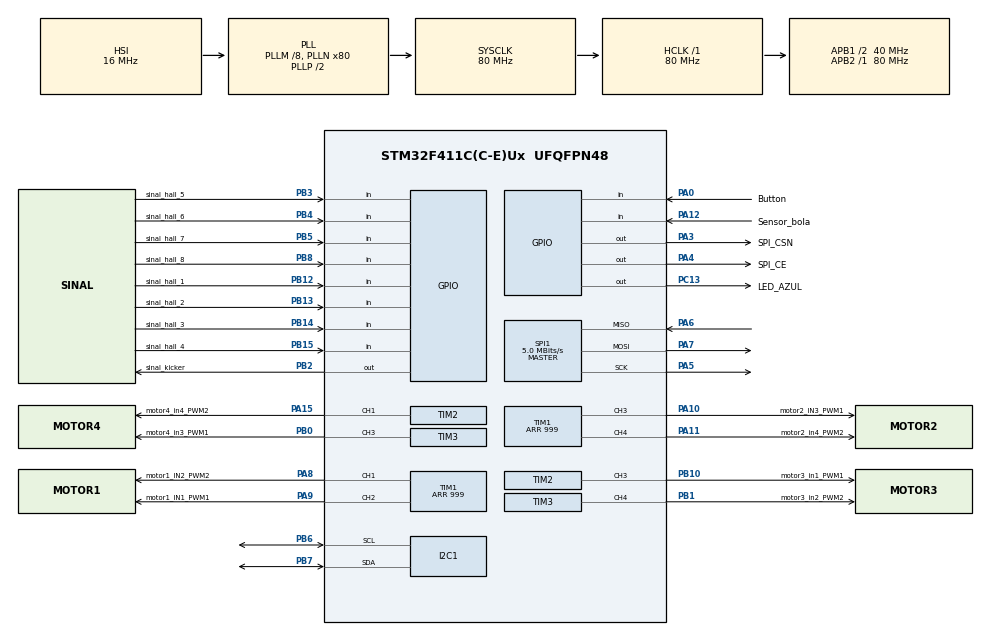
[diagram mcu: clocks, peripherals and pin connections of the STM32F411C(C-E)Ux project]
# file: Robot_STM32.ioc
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Mcu.Family=STM32F4
Mcu.Name=STM32F411C(C-E)Ux
Mcu.Package=UFQFPN48
NVIC.PriorityGroup=NVIC_PRIORITYGROUP_4
NVIC.TIM1_TRG_COM_TIM11_IRQn=true\:0\:0\:false\:false\:true\:true\:true\:true
PA0-WKUP.GPIO_Label=Button
PA0-WKUP.GPIO_PuPd=GPIO_PULLUP
PA0-WKUP.Signal=GPIO_Input
PA10.GPIO_Label=motor2_IN3_PWM1
PA10.Signal=S_TIM1_CH3
PA11.GPIO_Label=motor2_in4_PWM2
PA11.Signal=S_TIM1_CH4
PA12.GPIO_Label=Sensor_bola
PA12.Signal=GPIO_Input
PA13.Mode=Serial_Wire
PA13.Signal=SYS_JTMS-SWDIO
PA14.Mode=Serial_Wire
PA14.Signal=SYS_JTCK-SWCLK
PA15.GPIO_Label=motor4_in4_PWM2
PA15.Signal=S_TIM2_CH1_ETR
PA3.GPIO_Label=SPI_CSN
PA3.Signal=GPIO_Output
PA4.GPIO_Label=SPI_CE
PA4.Signal=GPIO_Output
PA5.Mode=Full_Duplex_Master
PA5.Signal=SPI1_SCK
PA6.Mode=Full_Duplex_Master
PA6.Signal=SPI1_MISO
PA7.Mode=Full_Duplex_Master
PA7.Signal=SPI1_MOSI
PA8.GPIO_Label=motor1_IN2_PWM2
PA8.GPIO_Speed=GPIO_SPEED_FREQ_HIGH
PA8.Signal=S_TIM1_CH1
PA9.GPIO_Label=motor1_IN1_PWM1
PA9.Signal=S_TIM1_CH2
PB0.GPIO_Label=motor4_in3_PWM1
PB0.Signal=S_TIM3_CH3
PB1.GPIO_Label=motor3_in2_PWM2
PB1.Signal=S_TIM3_CH4
PB10.GPIO_Label=motor3_in1_PWM1
PB10.Signal=S_TIM2_CH3
PB12.GPIO_Label=sinal_hall_1
PB12.Signal=GPIO_Input
PB13.GPIO_Label=sinal_hall_2
PB13.Signal=GPIO_Input
PB14.GPIO_Label=sinal_hall_3
PB14.Signal=GPIO_Input
PB15.GPIO_Label=sinal_hall_4
PB15.Signal=GPIO_Input
PB2.GPIO_Label=sinal_kicker
PB2.GPIO_Speed=GPIO_SPEED_FREQ_HIGH
PB2.Signal=GPIO_Output
PB3.GPIO_Label=sinal_hall_5
PB3.Signal=GPIO_Input
PB4.GPIO_Label=sinal_hall_6
PB4.Signal=GPIO_Input
PB5.GPIO_Label=sinal_hall_7
PB5.Signal=GPIO_Input
PB6.Mode=I2C
PB6.Signal=I2C1_SCL
PB7.Mode=I2C
PB7.Signal=I2C1_SDA
PB8.GPIO_Label=sinal_hall_8
PB8.Signal=GPIO_Input
PC13-ANTI_TAMP.GPIO_Label=LED_AZUL
PC13-ANTI_TAMP.Signal=GPIO_Output
PH0\ -\ OSC_IN.Mode=HSE-External-Oscillator
PH0\ -\ OSC_IN.Signal=RCC_OSC_IN
PH1\ -\ OSC_OUT.Mode=HSE-External-Oscillator
PH1\ -\ OSC_OUT.Signal=RCC_OSC_OUT
ProjectManager.HeapSize=0x200
ProjectManager.StackSize=0x400
ProjectManager.TargetToolchain=STM32CubeIDE
RCC.48MHZClocksFreq_Value=40000000
RCC.AHBFreq_Value=80000000
RCC.APB1CLKDivider=RCC_HCLK_DIV2
RCC.APB1Freq_Value=40000000
RCC.APB1TimFreq_Value=80000000
RCC.APB2Freq_Value=80000000
RCC.APB2TimFreq_Value=80000000
RCC.CortexFreq_Value=80000000
RCC.HCLKFreq_Value=80000000
RCC.HSE_VALUE=25000000
RCC.HSI_VALUE=16000000
RCC.LSE_VALUE=32768
RCC.PLLM=8
RCC.PLLN=80
RCC.SYSCLKFreq_VALUE=80000000
RCC.SYSCLKSource=RCC_SYSCLKSOURCE_PLLCLK
RCC.VCOOutputFreq_Value=160000000
SH.S_TIM1_CH1.0=TIM1_CH1,PWM Generation1 CH1
SH.S_TIM1_CH2.0=TIM1_CH2,PWM Generation2 CH2
SH.S_TIM1_CH3.0=TIM1_CH3,PWM Generation3 CH3
SH.S_TIM1_CH4.0=TIM1_CH4,PWM Generation4 CH4
SH.S_TIM2_CH1_ETR.0=TIM2_CH1,PWM Generation1 CH1
SH.S_TIM2_CH3.0=TIM2_CH3,PWM Generation3 CH3
SH.S_TIM3_CH3.0=TIM3_CH3,PWM Generation3 CH3
SH.S_TIM3_CH4.0=TIM3_CH4,PWM Generation4 CH4
SPI1.BaudRatePrescaler=SPI_BAUDRATEPRESCALER_16
SPI1.CalculateBaudRate=5.0 MBits/s
SPI1.Direction=SPI_DIRECTION_2LINES
SPI1.Mode=SPI_MODE_MASTER
SPI1.VirtualType=VM_MASTER
TIM1.Channel-PWM\ Generation1\ CH1=TIM_CHANNEL_1
TIM1.Channel-PWM\ Generation2\ CH2=TIM_CHANNEL_2
TIM1.Channel-PWM\ Generation3\ CH3=TIM_CHANNEL_3
TIM1.Channel-PWM\ Generation4\ CH4=TIM_CHANNEL_4
TIM1.Period=999
TIM11.Period=1999
TIM11.Prescaler=8399
TIM2.Channel-PWM\ Generation1\ CH1=TIM_CHANNEL_1
TIM2.Channel-PWM\ Generation3\ CH3=TIM_CHANNEL_3
TIM2.Period=999
TIM3.Channel-PWM\ Generation3\ CH3=TIM_CHANNEL_3
TIM3.Channel-PWM\ Generation4\ CH4=TIM_CHANNEL_4
TIM3.Period=999
VP_TIM11_VS_ClockSourceINT.Mode=Enable_Timer
board=custom

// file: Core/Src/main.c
/* USER CODE BEGIN Header */
/**
  ******************************************************************************
  * @file           : main.c
  * @brief          : Main program body
  ******************************************************************************
  * @attention
  *
  * Copyright (c) 2025 STMicroelectronics.
  * All rights reserved.
  *
  * This software is licensed under terms that can be found in the LICENSE file
  * in the root directory of this software component.
  * If no LICENSE file comes with this software, it is provided AS-IS.
  *
  ******************************************************************************
  */
/* USER CODE END Header */
#include "main.h"

/* USER CODE BEGIN Includes */
#include <math.h>
#include <stdio.h>
#include <string.h>
#include <inttypes.h>
#include "NRF24.h"
#include "NRF24_reg_addresses.h"
/* USER CODE END Includes */

/* USER CODE BEGIN PTD */
#define FLASH_USER_SECTOR      FLASH_SECTOR_7
#define FLASH_USER_START_ADDR  0x08060000UL  // setor reservado

#pragma pack(push, 1)
typedef struct {
    uint8_t id;
    float Vx, Vy, Vang;
    uint8_t kicker;
    uint8_t config;
    uint8_t param;
} Pacote;
#pragma pack(pop)

typedef struct {
    uint8_t id;          // ID do robô
} Info;

Info info;

volatile uint8_t id = -1;
volatile float vx = 0;
volatile float vy = 0;
volatile float vang = 0;
volatile uint8_t kicker = 0;
volatile uint8_t config = 0;
volatile uint8_t param = 0;

uint8_t addr[5] = {'C', 'E', 'R', 'B', 'R'};
uint8_t channel = 83;
uint8_t pld_size = sizeof(Pacote);
volatile uint8_t radio_timeout = 0;

const uint32_t ARR = 1000;
const float R = 0.0915;
const float Rr = 0.02;
const float velocidade_maxima_motor = 29.32153; // rads/segundo de 280rmp
const float velocidade_minima_motor = 0.6*velocidade_maxima_motor;
const float epsilon = 2;
const float a1 = 0.785398;   // 45°
const float a2 = 2.35619;  // 135°
const float a3 = 3.92699; // 225°
const float a4 = 5.49779;  // 315°

//Variaveis do Softstart
float duty_cycle[4];
float duty_cycle_atual[4] = {0, 0, 0, 0}; // PWM atual de cada motor
uint32_t ultimaAtualizacao = 0;
const uint32_t intervalo_ms = 20;  // Atualização a cada 20ms (~50Hz)
const float passo_pwm = 3.0f;      // Incremento por atualização

/* USER CODE END PTD */

/* USER CODE BEGIN PD */
#define PWM_MOTOR1_CHANNEL TIM_CHANNEL_1
#define PWM_MOTOR1_TIMER &htim1

#define PWM_MOTOR2_CHANNEL TIM_CHANNEL_2
#define PWM_MOTOR2_TIMER &htim3

#define PWM_MOTOR3_CHANNEL TIM_CHANNEL_1
#define PWM_MOTOR3_TIMER &htim3

#define PWM_MOTOR4_CHANNEL TIM_CHANNEL_1
#define PWM_MOTOR4_TIMER &htim2

/* USER CODE END PD */

I2C_HandleTypeDef hi2c1;

SPI_HandleTypeDef hspi1;

TIM_HandleTypeDef htim1;
TIM_HandleTypeDef htim2;
TIM_HandleTypeDef htim3;
TIM_HandleTypeDef htim11;

void SystemClock_Config(void);
static void MX_GPIO_Init(void);
static void MX_SPI1_Init(void);
static void MX_TIM1_Init(void);
static void MX_TIM2_Init(void);
static void MX_TIM11_Init(void);
static void MX_TIM3_Init(void);
static void MX_I2C1_Init(void);

/* USER CODE BEGIN 0 */
void radio_setup() {
	  ce_high();
	  HAL_Delay(5);
	  ce_low();

	  nrf24_init();

	  nrf24_auto_ack_all(auto_ack);
	  nrf24_en_ack_pld(disable);
	  nrf24_dpl(disable);

	  nrf24_tx_pwr(_0dbm);
	  nrf24_data_rate(_2mbps);
	  nrf24_set_channel(channel);
	  nrf24_set_addr_width(5);

	  nrf24_pipe_pld_size(0, pld_size);
	  nrf24_set_crc(en_crc, _1byte);

	  nrf24_auto_retr_delay(0);
	  nrf24_auto_retr_limit(5);

	  nrf24_open_tx_pipe(addr);
	  nrf24_open_rx_pipe(0, addr);

	  nrf24_listen();

	  ce_high();
	  HAL_Delay(5);
}

void HAL_TIM_PeriodElapsedCallback(TIM_HandleTypeDef *htim)
{
    if (htim->Instance == TIM11)
    {
        if (radio_timeout == 0)
        {
            vx = 0;
            vy = 0;
            vang = 0;
            kicker = 0;
            config = 0;
            param = 0;
        }
        else
        {
            radio_timeout = 0; // Sinal de que rádio está funcionando
        }
    }
}

void acionar_motor(int motor, float dutycycle) {
    TIM_HandleTypeDef *htimA = NULL;
    uint32_t channelA = 0;
    TIM_HandleTypeDef *htimB = NULL;
    uint32_t channelB = 0;

    switch (motor) {
        case 1:
            htimA = &htim1;
            channelA = TIM_CHANNEL_2;
            htimB = &htim1;
            channelB = TIM_CHANNEL_1;
            break;
        case 2:
            htimA = &htim1;
            channelA = TIM_CHANNEL_3;
            htimB = &htim1;
            channelB = TIM_CHANNEL_4;
            break;
        case 3:
            htimA = &htim2;
            channelA = TIM_CHANNEL_3;
            htimB = &htim3;
            channelB = TIM_CHANNEL_4;
            break;
        case 4:
            htimA = &htim2;
            channelA = TIM_CHANNEL_1;
            htimB = &htim3;
            channelB = TIM_CHANNEL_3;
            break;
        default:
            return;
    }

    // Limita dutycycle
    if (dutycycle > 100.0f) dutycycle = 100.0f;
    if (dutycycle < -100.0f) dutycycle = -100.0f;

    uint32_t pwm_value = (uint32_t)((fabsf(dutycycle) / 100.0f) * ARR);

    if (dutycycle > 0) {
        __HAL_TIM_SET_COMPARE(htimA, channelA, pwm_value);
        __HAL_TIM_SET_COMPARE(htimB, channelB, 0);
    } else if (dutycycle < 0) {
        __HAL_TIM_SET_COMPARE(htimA, channelA, 0);
        __HAL_TIM_SET_COMPARE(htimB, channelB, pwm_value);
    } else {
        __HAL_TIM_SET_COMPARE(htimA, channelA, 0);
        __HAL_TIM_SET_COMPARE(htimB, channelB, 0);
    }
}

void soft_start_motor(int motor, float pwm_alvo, float passo) {
    if (pwm_alvo > 100.0f) pwm_alvo = 100.0f;
    if (pwm_alvo < -100.0f) pwm_alvo = -100.0f;

    float* pwm_atual = &duty_cycle_atual[motor - 1];

    if (fabs(*pwm_atual - pwm_alvo) < passo) {
        *pwm_atual = pwm_alvo;
    } else if (*pwm_atual < pwm_alvo) {
        *pwm_atual += passo;
    } else {
        *pwm_atual -= passo;
    }

    acionar_motor(motor, *pwm_atual);
}

void gravaFlash(Info *info){
    HAL_StatusTypeDef status;
    HAL_FLASH_Unlock();

    // Apaga o setor inteiro
    FLASH_EraseInitTypeDef EraseInitStruct;
    uint32_t SectorError = 0;

    EraseInitStruct.TypeErase    = FLASH_TYPEERASE_SECTORS;
    EraseInitStruct.Sector       = FLASH_USER_SECTOR;
    EraseInitStruct.NbSectors    = 1;
    EraseInitStruct.VoltageRange = FLASH_VOLTAGE_RANGE_3;

    status = HAL_FLASHEx_Erase(&EraseInitStruct, &SectorError);
    if (status != HAL_OK) {
        // opcional: tratar/indicar erro (debug)
        HAL_FLASH_Lock();
        return;
    }

    // Prepara buffer de palavras 32-bit com padding
    size_t bytes = sizeof(Info);
    size_t words = (bytes + 3) / 4; // arredonda para cima
    uint32_t buf[ ( (sizeof(Info) + 3) / 4 ) ];
    // inicializa com 0xFFFFFFFF (valor de flash apagada)
    for (size_t i = 0; i < words; ++i) buf[i] = 0xFFFFFFFFu;

    // copia bytes da struct para o buffer
    memcpy((uint8_t*)buf, (uint8_t*)info, bytes);

    // grava palavra a palavra
    for (size_t i = 0; i < words; ++i) {
        status = HAL_FLASH_Program(FLASH_TYPEPROGRAM_WORD,
                                   FLASH_USER_START_ADDR + i * 4,
                                   buf[i]);
        if (status != HAL_OK) {
            // tratar erro: opcionalmente ler __HAL_FLASH_GET_FLAG(...) para debug
            break;
        }
    }

    HAL_FLASH_Lock();
}
void leFlash(Info *info)
{
    // Copia bytes diretamente da flash (não é necessário fazer cast para pointer de palavra)
    const void *flashPtr = (const void*)FLASH_USER_START_ADDR;
    memcpy(info, flashPtr, sizeof(Info));
}

void act_config(){
	if(config == 1) {
		id = param;
		info.id = param;
		gravaFlash(&info);
	}
	if(config == 5){
		if(param == 0){
			  HAL_Delay(4000);
			  for(int i = 0; i<4; i++){
				  acionar_motor(i+1, 1000);
				  HAL_Delay(1000);
				  acionar_motor(i+1, 0);
				  HAL_Delay(1000);
				  acionar_motor(i+1, -1000);
				  HAL_Delay(1000);
				  acionar_motor(i+1, 0);
			  }
		  }
		  if(param == 1){
			  HAL_Delay(4000);
			  for(int i = 0; i<4; i++){
				  acionar_motor(1, 100);
				  HAL_Delay(1000);
				  acionar_motor(1, 0);
				  acionar_motor(2, 100);
				  HAL_Delay(1000);
				  acionar_motor(2, 0);
				  acionar_motor(3, 100);
				  HAL_Delay(1000);
				  acionar_motor(3, 0);
				  acionar_motor(4, 100);
				  HAL_Delay(1000);
				  acionar_motor(4, 0);
			  }
		  }
		  if(param == 2){
			  for(int i = 0; i<11; i++){
				  acionar_motor(1, i*10);
				  acionar_motor(2, i*10);
				  acionar_motor(3, i*10);
				  acionar_motor(4, i*10);
				  HAL_Delay(2000);
			  }
			  for(int i = 0; i<11; i++){
				  acionar_motor(1, -i*10);
				  acionar_motor(2, -i*10);
				  acionar_motor(3, -i*10);
				  acionar_motor(4, -i*10);
				  HAL_Delay(2000);
			  }
		  }
		  if(param == 3){
		  			  for(int i = 0; i<1; i++){
		  				  acionar_motor(1, 50);
		  				  acionar_motor(2, -50);
		  				  acionar_motor(3, -50);
		  				  acionar_motor(4, 50);
		  				  HAL_Delay(2000);
		  			  }
		  			  for(int i = 0; i<1; i++){
		  				  acionar_motor(1, -50);
		  				  acionar_motor(2, 50);
		  				  acionar_motor(3, 50);
		  				  acionar_motor(4, -50);
		  				  HAL_Delay(2000);
		  			  }
		  			  for(int i = 0; i<1; i++){
		  				  acionar_motor(1, -50);
		  				  acionar_motor(2, -50);
		  				  acionar_motor(3, 50);
		  				  acionar_motor(4, 50);
		  				  HAL_Delay(2000);
		  			  }
		  			  for(int i = 0; i<1; i++){
		  				  acionar_motor(1, 50);
		  				  acionar_motor(2, 50);
		  				  acionar_motor(3, -50);
		  				  acionar_motor(4, -50);
		  				  HAL_Delay(2000);
		  			  }
		  			acionar_motor(1, 0);
		  			acionar_motor(2, 0);
		  			acionar_motor(3, 0);
		  			acionar_motor(4, 0);
		  			HAL_Delay(4000);

		  		  }
	}
	config = 0;
	param = 0;
}

/* USER CODE END 0 */

int main(void)
{

  /* MCU Configuration--------------------------------------------------------*/

  /* Reset of all peripherals, Initializes the Flash interface and the Systick. */
  HAL_Init();

  /* Configure the system clock */
  SystemClock_Config();

  /* Initialize all configured peripherals */
  MX_GPIO_Init();
  MX_SPI1_Init();
  MX_TIM1_Init();
  MX_TIM2_Init();
  MX_TIM11_Init();
  MX_TIM3_Init();
  MX_I2C1_Init();
  /* USER CODE BEGIN 2 */
  HAL_TIM_PWM_Start(&htim1, TIM_CHANNEL_1);
  HAL_TIM_PWM_Start(&htim1, TIM_CHANNEL_2);
  HAL_TIM_PWM_Start(&htim1, TIM_CHANNEL_3);
  HAL_TIM_PWM_Start(&htim1, TIM_CHANNEL_4);

  HAL_TIM_PWM_Start(&htim2, TIM_CHANNEL_1);
  HAL_TIM_PWM_Start(&htim2, TIM_CHANNEL_3);

  HAL_TIM_PWM_Start(&htim3, TIM_CHANNEL_3);
  HAL_TIM_PWM_Start(&htim3, TIM_CHANNEL_4);
  //radio configuration
  radio_setup();
  HAL_TIM_Base_Start_IT(&htim11);

  //Radio variables
  uint8_t rx_buffer[pld_size];
  Pacote pacote_recebido;

  //cinematics variables

  float J[4][3] = {
  	  	    {-sin(a1), cos(a1), R},
  	  	    {-sin(a2), cos(a2), R},
  	  	    {-sin(a3), cos(a3), R},
  	  	    {-sin(a4), cos(a4), R}
  	  	  };
  HAL_GPIO_WritePin(LED_AZUL_GPIO_Port, LED_AZUL_Pin, GPIO_PIN_SET);
  leFlash(&info);
  if(info.id == 0xFF || info.id > 15 || info.id == 0xFF) {
	  Info new_info;
	  new_info.id = -1;
	  gravaFlash(&new_info);
	  leFlash(&info);
  }
  id = info.id;
  //HAL_UART_Transmit(&huart2, (uint8_t*)"Iniciado!", strlen("Iniciado!"), 100);
  /* USER CODE END 2 */

  /* Infinite loop */
  /* USER CODE BEGIN WHILE */
  while (1)
  {
	  if (HAL_GPIO_ReadPin(GPIOA, GPIO_PIN_0) == GPIO_PIN_RESET) {
		  HAL_GPIO_WritePin(LED_AZUL_GPIO_Port, LED_AZUL_Pin, GPIO_PIN_SET);
		  HAL_Delay(2000);
		  if(id != 0xFF){
			  for (int i = 0; i < id ; i++) {
				  HAL_GPIO_WritePin(LED_AZUL_GPIO_Port, LED_AZUL_Pin, GPIO_PIN_SET);
				  HAL_Delay(1000);
				  HAL_GPIO_WritePin(LED_AZUL_GPIO_Port, LED_AZUL_Pin, GPIO_PIN_RESET);
				  HAL_Delay(1000);
			  }
		  }
		  if (id == -1 || id == 0xFF) {
			  for (int i = 0; i<3; i++) {
				  HAL_GPIO_WritePin(LED_AZUL_GPIO_Port, LED_AZUL_Pin, GPIO_PIN_SET);
				  HAL_Delay(500);
				  HAL_GPIO_WritePin(LED_AZUL_GPIO_Port, LED_AZUL_Pin, GPIO_PIN_RESET);
				  HAL_Delay(500);
			  }
		  }
		  HAL_GPIO_WritePin(LED_AZUL_GPIO_Port, LED_AZUL_Pin, GPIO_PIN_SET);
		  HAL_Delay(2000);
	  }

  // Inicializa pacote com valores padrão
  pacote_recebido.Vx = 0;
  pacote_recebido.Vy = 0;
  pacote_recebido.Vang = 0;
  pacote_recebido.id = -10;
  pacote_recebido.kicker = 0;
  pacote_recebido.config = 0;
  pacote_recebido.param = 0;

  // ---- Comunicação via rádio ----
	if(nrf24_data_available()) {
		nrf24_receive(rx_buffer, pld_size);
		memcpy(&pacote_recebido, rx_buffer, sizeof(Pacote));

		if(pacote_recebido.id == id){
		  // Atualiza variáveis globais
			vx = pacote_recebido.Vx;
			vy = pacote_recebido.Vy;
			vang = pacote_recebido.Vang;
			kicker = pacote_recebido.kicker;
			config = pacote_recebido.config;
			param = pacote_recebido.param;

			radio_timeout = 1;
			HAL_GPIO_WritePin(LED_AZUL_GPIO_Port, LED_AZUL_Pin, GPIO_PIN_RESET);
		} else {
			HAL_GPIO_WritePin(LED_AZUL_GPIO_Port, LED_AZUL_Pin, GPIO_PIN_SET);
			radio_timeout = 0;
		}
	} else {
		radio_timeout = 0;
		HAL_GPIO_WritePin(LED_AZUL_GPIO_Port, LED_AZUL_Pin, GPIO_PIN_SET);
	}
  if (config != 0) {
	  act_config();
	  continue;
  }

  // ---- Cinemática do robô ----
  if (vx > 0.71) vx = 0.71;
  if (vy > 0.71) vy = 0.71;
  if (vx < -0.71) vx = -0.71;
  if (vy < -0.71) vy = -0.71;

  float velocidade_angular[4];
  for (int i = 0; i < 4; i++) {
	  velocidade_angular[i] = (1.0f / Rr) * (J[i][0] * vx + J[i][1] * vy + J[i][2] * vang);
  }

  // Normalizar
  float max_val = 0.0f;
  for (int i = 0; i < 4; i++) {
	  float abs_val = fabs(velocidade_angular[i]);
	  if (abs_val > max_val) max_val = abs_val;
  }
  if (max_val > velocidade_maxima_motor) {
	  float escala = velocidade_maxima_motor / max_val;
	  for (int i = 0; i < 4; i++) {
		  velocidade_angular[i] *= escala;
	  }
  }

  // Garantir mínimo
  float min_val = 1e9f;
  for (int i = 0; i < 4; i++) {
	  float abs_val = fabs(velocidade_angular[i]);
	  if (abs_val > epsilon && abs_val < min_val) {
		  min_val = abs_val;
	  }
  }
  if (min_val < velocidade_minima_motor && min_val > epsilon) {
	  float escala = velocidade_minima_motor / min_val;
	  for (int i = 0; i < 4; i++) {
		  if (fabs(velocidade_angular[i]) > epsilon) {
			  velocidade_angular[i] *= escala;
			  if (velocidade_angular[i] > velocidade_maxima_motor) velocidade_angular[i] = velocidade_maxima_motor;
			  if (velocidade_angular[i] < -velocidade_maxima_motor) velocidade_angular[i] = -velocidade_maxima_motor;
		  }
	  }
  }

  // Aplicar nos motores

  acionar_motor(1, 100.0f*velocidade_angular[0]/velocidade_maxima_motor);
  acionar_motor(2, 100.0f*velocidade_angular[1]/velocidade_maxima_motor);
  acionar_motor(3, 100.0f*velocidade_angular[2]/velocidade_maxima_motor);
  acionar_motor(4, 100.0f*velocidade_angular[3]/velocidade_maxima_motor);

/*
      // 4. Conversão para duty cycle [%]
      for (int i = 0; i < 4; i++) {
          duty_cycle[i] = (velocidade_angular[i] / velocidade_maxima_motor) * 100.0f;

          // Limita para [-100, 100]
          if (duty_cycle[i] > 100.0f) duty_cycle[i] = 100.0f;
          if (duty_cycle[i] < -100.0f) duty_cycle[i] = -100.0f;
      }

      // 5. Softstart para aplicar os valores suavemente

	  if (HAL_GetTick() - ultimaAtualizacao >= intervalo_ms) {
	 	      ultimaAtualizacao = HAL_GetTick();

	 	        for (int i = 0; i < 4; i++) {
	 	            soft_start_motor(i + 1, duty_cycle[i], passo_pwm);
	 	        }
	 	  }
*/

  }
    /* USER CODE END WHILE */

}

void SystemClock_Config(void)
{
  RCC_OscInitTypeDef RCC_OscInitStruct = {0};
  RCC_ClkInitTypeDef RCC_ClkInitStruct = {0};

  /** Configure the main internal regulator output voltage
  */
  __HAL_RCC_PWR_CLK_ENABLE();
  __HAL_PWR_VOLTAGESCALING_CONFIG(PWR_REGULATOR_VOLTAGE_SCALE1);

  /** Initializes the RCC Oscillators according to the specified parameters
  * in the RCC_OscInitTypeDef structure.
  */
  RCC_OscInitStruct.OscillatorType = RCC_OSCILLATORTYPE_HSI;
  RCC_OscInitStruct.HSIState = RCC_HSI_ON;
  RCC_OscInitStruct.HSICalibrationValue = RCC_HSICALIBRATION_DEFAULT;
  RCC_OscInitStruct.PLL.PLLState = RCC_PLL_ON;
  RCC_OscInitStruct.PLL.PLLSource = RCC_PLLSOURCE_HSI;
  RCC_OscInitStruct.PLL.PLLM = 8;
  RCC_OscInitStruct.PLL.PLLN = 80;
  RCC_OscInitStruct.PLL.PLLP = RCC_PLLP_DIV2;
  RCC_OscInitStruct.PLL.PLLQ = 4;
  if (HAL_RCC_OscConfig(&RCC_OscInitStruct) != HAL_OK)
  {
    Error_Handler();
  }

  /** Initializes the CPU, AHB and APB buses clocks
  */
  RCC_ClkInitStruct.ClockType = RCC_CLOCKTYPE_HCLK|RCC_CLOCKTYPE_SYSCLK
                              |RCC_CLOCKTYPE_PCLK1|RCC_CLOCKTYPE_PCLK2;
  RCC_ClkInitStruct.SYSCLKSource = RCC_SYSCLKSOURCE_PLLCLK;
  RCC_ClkInitStruct.AHBCLKDivider = RCC_SYSCLK_DIV1;
  RCC_ClkInitStruct.APB1CLKDivider = RCC_HCLK_DIV2;
  RCC_ClkInitStruct.APB2CLKDivider = RCC_HCLK_DIV1;

  if (HAL_RCC_ClockConfig(&RCC_ClkInitStruct, FLASH_LATENCY_2) != HAL_OK)
  {
    Error_Handler();
  }
}

static void MX_I2C1_Init(void)
{

  hi2c1.Instance = I2C1;
  hi2c1.Init.ClockSpeed = 100000;
  hi2c1.Init.DutyCycle = I2C_DUTYCYCLE_2;
  hi2c1.Init.OwnAddress1 = 0;
  hi2c1.Init.AddressingMode = I2C_ADDRESSINGMODE_7BIT;
  hi2c1.Init.DualAddressMode = I2C_DUALADDRESS_DISABLE;
  hi2c1.Init.OwnAddress2 = 0;
  hi2c1.Init.GeneralCallMode = I2C_GENERALCALL_DISABLE;
  hi2c1.Init.NoStretchMode = I2C_NOSTRETCH_DISABLE;
  if (HAL_I2C_Init(&hi2c1) != HAL_OK)
  {
    Error_Handler();
  }

}

static void MX_SPI1_Init(void)
{

  /* SPI1 parameter configuration*/
  hspi1.Instance = SPI1;
  hspi1.Init.Mode = SPI_MODE_MASTER;
  hspi1.Init.Direction = SPI_DIRECTION_2LINES;
  hspi1.Init.DataSize = SPI_DATASIZE_8BIT;
  hspi1.Init.CLKPolarity = SPI_POLARITY_LOW;
  hspi1.Init.CLKPhase = SPI_PHASE_1EDGE;
  hspi1.Init.NSS = SPI_NSS_SOFT;
  hspi1.Init.BaudRatePrescaler = SPI_BAUDRATEPRESCALER_16;
  hspi1.Init.FirstBit = SPI_FIRSTBIT_MSB;
  hspi1.Init.TIMode = SPI_TIMODE_DISABLE;
  hspi1.Init.CRCCalculation = SPI_CRCCALCULATION_DISABLE;
  hspi1.Init.CRCPolynomial = 10;
  if (HAL_SPI_Init(&hspi1) != HAL_OK)
  {
    Error_Handler();
  }

}

static void MX_TIM1_Init(void)
{

  TIM_MasterConfigTypeDef sMasterConfig = {0};
  TIM_OC_InitTypeDef sConfigOC = {0};
  TIM_BreakDeadTimeConfigTypeDef sBreakDeadTimeConfig = {0};

  htim1.Instance = TIM1;
  htim1.Init.Prescaler = 0;
  htim1.Init.CounterMode = TIM_COUNTERMODE_UP;
  htim1.Init.Period = 999;
  htim1.Init.ClockDivision = TIM_CLOCKDIVISION_DIV1;
  htim1.Init.RepetitionCounter = 0;
  htim1.Init.AutoReloadPreload = TIM_AUTORELOAD_PRELOAD_DISABLE;
  if (HAL_TIM_PWM_Init(&htim1) != HAL_OK)
  {
    Error_Handler();
  }
  sMasterConfig.MasterOutputTrigger = TIM_TRGO_RESET;
  sMasterConfig.MasterSlaveMode = TIM_MASTERSLAVEMODE_DISABLE;
  if (HAL_TIMEx_MasterConfigSynchronization(&htim1, &sMasterConfig) != HAL_OK)
  {
    Error_Handler();
  }
  sConfigOC.OCMode = TIM_OCMODE_PWM1;
  sConfigOC.Pulse = 0;
  sConfigOC.OCPolarity = TIM_OCPOLARITY_HIGH;
  sConfigOC.OCNPolarity = TIM_OCNPOLARITY_HIGH;
  sConfigOC.OCFastMode = TIM_OCFAST_DISABLE;
  sConfigOC.OCIdleState = TIM_OCIDLESTATE_RESET;
  sConfigOC.OCNIdleState = TIM_OCNIDLESTATE_RESET;
  if (HAL_TIM_PWM_ConfigChannel(&htim1, &sConfigOC, TIM_CHANNEL_1) != HAL_OK)
  {
    Error_Handler();
  }
  if (HAL_TIM_PWM_ConfigChannel(&htim1, &sConfigOC, TIM_CHANNEL_2) != HAL_OK)
  {
    Error_Handler();
  }
  if (HAL_TIM_PWM_ConfigChannel(&htim1, &sConfigOC, TIM_CHANNEL_3) != HAL_OK)
  {
    Error_Handler();
  }
  if (HAL_TIM_PWM_ConfigChannel(&htim1, &sConfigOC, TIM_CHANNEL_4) != HAL_OK)
  {
    Error_Handler();
  }
  sBreakDeadTimeConfig.OffStateRunMode = TIM_OSSR_DISABLE;
  sBreakDeadTimeConfig.OffStateIDLEMode = TIM_OSSI_DISABLE;
  sBreakDeadTimeConfig.LockLevel = TIM_LOCKLEVEL_OFF;
  sBreakDeadTimeConfig.DeadTime = 0;
  sBreakDeadTimeConfig.BreakState = TIM_BREAK_DISABLE;
  sBreakDeadTimeConfig.BreakPolarity = TIM_BREAKPOLARITY_HIGH;
  sBreakDeadTimeConfig.AutomaticOutput = TIM_AUTOMATICOUTPUT_DISABLE;
  if (HAL_TIMEx_ConfigBreakDeadTime(&htim1, &sBreakDeadTimeConfig) != HAL_OK)
  {
    Error_Handler();
  }
  HAL_TIM_MspPostInit(&htim1);

}

static void MX_TIM2_Init(void)
{

  TIM_MasterConfigTypeDef sMasterConfig = {0};
  TIM_OC_InitTypeDef sConfigOC = {0};

  htim2.Instance = TIM2;
  htim2.Init.Prescaler = 0;
  htim2.Init.CounterMode = TIM_COUNTERMODE_UP;
  htim2.Init.Period = 999;
  htim2.Init.ClockDivision = TIM_CLOCKDIVISION_DIV1;
  htim2.Init.AutoReloadPreload = TIM_AUTORELOAD_PRELOAD_DISABLE;
  if (HAL_TIM_PWM_Init(&htim2) != HAL_OK)
  {
    Error_Handler();
  }
  sMasterConfig.MasterOutputTrigger = TIM_TRGO_RESET;
  sMasterConfig.MasterSlaveMode = TIM_MASTERSLAVEMODE_DISABLE;
  if (HAL_TIMEx_MasterConfigSynchronization(&htim2, &sMasterConfig) != HAL_OK)
  {
    Error_Handler();
  }
  sConfigOC.OCMode = TIM_OCMODE_PWM1;
  sConfigOC.Pulse = 0;
  sConfigOC.OCPolarity = TIM_OCPOLARITY_HIGH;
  sConfigOC.OCFastMode = TIM_OCFAST_DISABLE;
  if (HAL_TIM_PWM_ConfigChannel(&htim2, &sConfigOC, TIM_CHANNEL_1) != HAL_OK)
  {
    Error_Handler();
  }
  if (HAL_TIM_PWM_ConfigChannel(&htim2, &sConfigOC, TIM_CHANNEL_3) != HAL_OK)
  {
    Error_Handler();
  }
  HAL_TIM_MspPostInit(&htim2);

}

static void MX_TIM3_Init(void)
{

  TIM_MasterConfigTypeDef sMasterConfig = {0};
  TIM_OC_InitTypeDef sConfigOC = {0};

  htim3.Instance = TIM3;
  htim3.Init.Prescaler = 0;
  htim3.Init.CounterMode = TIM_COUNTERMODE_UP;
  htim3.Init.Period = 999;
  htim3.Init.ClockDivision = TIM_CLOCKDIVISION_DIV1;
  htim3.Init.AutoReloadPreload = TIM_AUTORELOAD_PRELOAD_DISABLE;
  if (HAL_TIM_PWM_Init(&htim3) != HAL_OK)
  {
    Error_Handler();
  }
  sMasterConfig.MasterOutputTrigger = TIM_TRGO_RESET;
  sMasterConfig.MasterSlaveMode = TIM_MASTERSLAVEMODE_DISABLE;
  if (HAL_TIMEx_MasterConfigSynchronization(&htim3, &sMasterConfig) != HAL_OK)
  {
    Error_Handler();
  }
  sConfigOC.OCMode = TIM_OCMODE_PWM1;
  sConfigOC.Pulse = 0;
  sConfigOC.OCPolarity = TIM_OCPOLARITY_HIGH;
  sConfigOC.OCFastMode = TIM_OCFAST_DISABLE;
  if (HAL_TIM_PWM_ConfigChannel(&htim3, &sConfigOC, TIM_CHANNEL_3) != HAL_OK)
  {
    Error_Handler();
  }
  if (HAL_TIM_PWM_ConfigChannel(&htim3, &sConfigOC, TIM_CHANNEL_4) != HAL_OK)
  {
    Error_Handler();
  }
  HAL_TIM_MspPostInit(&htim3);

}

static void MX_TIM11_Init(void)
{

  htim11.Instance = TIM11;
  htim11.Init.Prescaler = 8399;
  htim11.Init.CounterMode = TIM_COUNTERMODE_UP;
  htim11.Init.Period = 1999;
  htim11.Init.ClockDivision = TIM_CLOCKDIVISION_DIV1;
  htim11.Init.AutoReloadPreload = TIM_AUTORELOAD_PRELOAD_DISABLE;
  if (HAL_TIM_Base_Init(&htim11) != HAL_OK)
  {
    Error_Handler();
  }

}

static void MX_GPIO_Init(void)
{
  GPIO_InitTypeDef GPIO_InitStruct = {0};

  /* GPIO Ports Clock Enable */
  __HAL_RCC_GPIOC_CLK_ENABLE();
  __HAL_RCC_GPIOH_CLK_ENABLE();
  __HAL_RCC_GPIOA_CLK_ENABLE();
  __HAL_RCC_GPIOB_CLK_ENABLE();

  /*Configure GPIO pin Output Level */
  HAL_GPIO_WritePin(LED_AZUL_GPIO_Port, LED_AZUL_Pin, GPIO_PIN_RESET);

  /*Configure GPIO pin Output Level */
  HAL_GPIO_WritePin(GPIOA, SPI_CSN_Pin|SPI_CE_Pin, GPIO_PIN_RESET);

  /*Configure GPIO pin Output Level */
  HAL_GPIO_WritePin(sinal_kicker_GPIO_Port, sinal_kicker_Pin, GPIO_PIN_RESET);

  /*Configure GPIO pin : LED_AZUL_Pin */
  GPIO_InitStruct.Pin = LED_AZUL_Pin;
  GPIO_InitStruct.Mode = GPIO_MODE_OUTPUT_PP;
  GPIO_InitStruct.Pull = GPIO_NOPULL;
  GPIO_InitStruct.Speed = GPIO_SPEED_FREQ_LOW;
  HAL_GPIO_Init(LED_AZUL_GPIO_Port, &GPIO_InitStruct);

  /*Configure GPIO pin : Button_Pin */
  GPIO_InitStruct.Pin = Button_Pin;
  GPIO_InitStruct.Mode = GPIO_MODE_INPUT;
  GPIO_InitStruct.Pull = GPIO_PULLUP;
  HAL_GPIO_Init(Button_GPIO_Port, &GPIO_InitStruct);

  /*Configure GPIO pins : SPI_CSN_Pin SPI_CE_Pin */
  GPIO_InitStruct.Pin = SPI_CSN_Pin|SPI_CE_Pin;
  GPIO_InitStruct.Mode = GPIO_MODE_OUTPUT_PP;
  GPIO_InitStruct.Pull = GPIO_NOPULL;
  GPIO_InitStruct.Speed = GPIO_SPEED_FREQ_LOW;
  HAL_GPIO_Init(GPIOA, &GPIO_InitStruct);

  /*Configure GPIO pin : sinal_kicker_Pin */
  GPIO_InitStruct.Pin = sinal_kicker_Pin;
  GPIO_InitStruct.Mode = GPIO_MODE_OUTPUT_PP;
  GPIO_InitStruct.Pull = GPIO_NOPULL;
  GPIO_InitStruct.Speed = GPIO_SPEED_FREQ_HIGH;
  HAL_GPIO_Init(sinal_kicker_GPIO_Port, &GPIO_InitStruct);

  /*Configure GPIO pins : sinal_hall_1_Pin sinal_hall_2_Pin sinal_hall_3_Pin sinal_hall_4_Pin
                           sinal_hall_5_Pin sinal_hall_6_Pin sinal_hall_7_Pin sinal_hall_8_Pin */
  GPIO_InitStruct.Pin = sinal_hall_1_Pin|sinal_hall_2_Pin|sinal_hall_3_Pin|sinal_hall_4_Pin
                          |sinal_hall_5_Pin|sinal_hall_6_Pin|sinal_hall_7_Pin|sinal_hall_8_Pin;
  GPIO_InitStruct.Mode = GPIO_MODE_INPUT;
  GPIO_InitStruct.Pull = GPIO_NOPULL;
  HAL_GPIO_Init(GPIOB, &GPIO_InitStruct);

  /*Configure GPIO pin : Sensor_bola_Pin */
  GPIO_InitStruct.Pin = Sensor_bola_Pin;
  GPIO_InitStruct.Mode = GPIO_MODE_INPUT;
  GPIO_InitStruct.Pull = GPIO_NOPULL;
  HAL_GPIO_Init(Sensor_bola_GPIO_Port, &GPIO_InitStruct);

}

void Error_Handler(void)
{
  __disable_irq();
  while (1)
  {
  }
}
